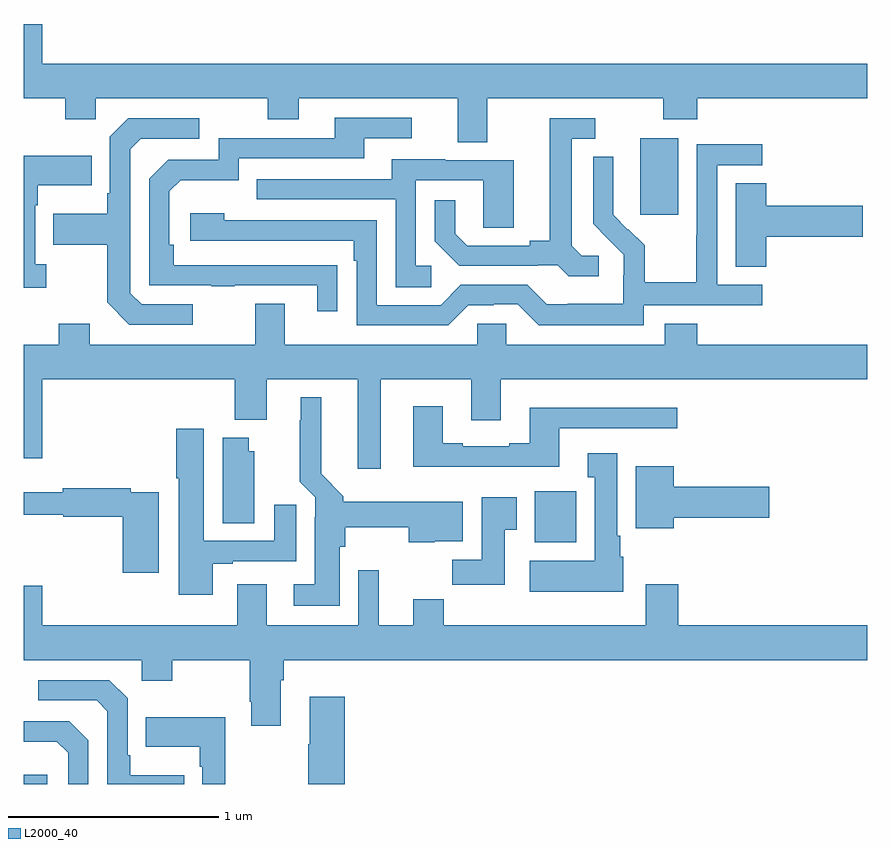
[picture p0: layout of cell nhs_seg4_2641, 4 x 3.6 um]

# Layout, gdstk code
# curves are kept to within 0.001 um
import gdstk
lib = gdstk.Library(unit=1e-6, precision=1e-09)
def R(c, l, rs):  # rectangles x0, y0, x1, y1
    for r in rs: c.add(gdstk.rectangle(r[:2], r[2:], *l))
def P(c, l, *ps):  # polygons
    for p in ps: c.add(gdstk.Polygon(p, *l))
L2000_40 = (2000, 40)

nhs_seg4_2641 = lib.new_cell('nhs_seg4_2641')
R(nhs_seg4_2641, L2000_40, [(249,794.9,249.112,794.944), (251.423,796.046,251.62,796.288), (251.924,797.601,252.103,797.962)])
P(nhs_seg4_2641, L2000_40, [(251.197,798.152),(252.034,798.152),(252.034,798.053),(252.194,798.053),(252.194,798.152),(253,798.152),(253,798.316),(249.088,798.316),(249.088,798.505),(249,798.505),(249,798.152),(249.196,798.152),(249.196,798.053),(249.342,798.053),(249.342,798.152),(250.156,798.152),(250.156,798.053),(250.303,798.053),(250.303,798.152),(251.057,798.152),(251.057,797.944),(251.197,797.944)],
  [(250.487,797.36),(249.71,797.361),(249.71,797.458),(249.69,797.458),(249.69,797.712),(249.743,797.765),(250.02,797.765),(250.02,797.868),(250.615,797.868),(250.615,797.964),(250.84,797.964),(250.84,798.06),(250.475,798.06),(250.475,797.964),(249.924,797.964),(249.924,797.862),(249.684,797.862),(249.594,797.772),(249.594,797.265),(249.889,797.265),(249.889,797.26),(250.001,797.26),(250.001,797.265),(250.391,797.265),(250.391,797.142),(250.487,797.142)],
  [(249.802,797.175),(249.558,797.175),(249.504,797.229),(249.504,797.91),(249.555,797.961),(249.832,797.961),(249.832,798.057),(249.495,798.057),(249.408,797.97),(249.408,797.701),(249.396,797.701),(249.396,797.605),(249.139,797.605),(249.139,797.458),(249.396,797.458),(249.396,797.185),(249.501,797.079),(249.802,797.079)],
  [(251.728,797.406),(251.646,797.406),(251.599,797.453),(251.599,797.961),(251.71,797.961),(251.71,798.057),(251.495,798.057),(251.495,797.477),(251.399,797.477),(251.399,797.454),(251.104,797.454),(251.047,797.511),(251.047,797.668),(250.95,797.668),(250.95,797.474),(251.066,797.358),(251.438,797.358),(251.438,797.361),(251.532,797.361),(251.584,797.309),(251.728,797.309)],
  [(251.94,797.172),(252.502,797.172),(252.502,797.268),(252.288,797.268),(252.288,797.835),(252.502,797.835),(252.502,797.934),(252.192,797.934),(252.192,797.504),(252.19,797.504),(252.19,797.281),(251.945,797.281),(251.945,797.455),(251.868,797.532),(251.865,797.529),(251.795,797.6),(251.796,797.876),(251.7,797.876),(251.7,797.558),(251.846,797.41),(251.846,797.313),(251.844,797.313),(251.844,797.179),(251.581,797.179),(251.581,797.175),(251.481,797.175),(251.388,797.268),(251.073,797.268),(250.977,797.172),(250.674,797.172),(250.674,797.574),(249.95,797.574),(249.95,797.608),(249.789,797.608),(249.789,797.478),(250.565,797.478),(250.565,797.381),(250.578,797.381),(250.578,797.076),(251.013,797.076),(251.109,797.172),(251.228,797.172),(251.228,797.175),(251.343,797.175),(251.443,797.075),(251.94,797.075)],
  [(249.106,797.366),(249.054,797.366),(249.054,797.645),(249.067,797.645),(249.067,797.741),(249.323,797.741),(249.323,797.881),(249,797.881),(249,797.253),(249.106,797.253)],
  [(250.933,797.358),(250.86,797.358),(250.86,797.763),(251.178,797.763),(251.178,797.539),(251.323,797.539),(251.323,797.859),(250.999,797.859),(250.999,797.863),(250.745,797.863),(250.745,797.769),(250.105,797.769),(250.105,797.673),(250.764,797.673),(250.764,797.257),(250.933,797.257)],
  [(252.521,797.495),(252.979,797.495),(252.979,797.642),(252.521,797.642),(252.521,797.75),(252.377,797.75),(252.377,797.353),(252.521,797.353)],
  [(250.693,796.82),(251.123,796.82),(251.123,796.626),(251.263,796.626),(251.263,796.82),(253,796.82),(253,796.984),(252.194,796.984),(252.194,797.083),(252.041,797.083),(252.041,796.984),(251.289,796.984),(251.289,797.082),(251.151,797.082),(251.151,796.984),(250.237,796.984),(250.237,797.179),(250.097,797.179),(250.097,796.984),(249.313,796.984),(249.313,797.083),(249.166,797.083),(249.166,796.984),(249,796.984),(249,796.446),(249.088,796.446),(249.088,796.82),(250.001,796.82),(250.001,796.628),(250.153,796.628),(250.153,796.82),(250.583,796.82),(250.583,796.395),(250.693,796.395)],
  [(250.498,796.026),(250.524,796.026),(250.524,796.118),(250.825,796.118),(250.825,796.046),(250.95,796.046),(250.95,796.052),(251.083,796.052),(251.083,796.24),(250.516,796.24),(250.516,796.266),(250.411,796.372),(250.411,796.735),(250.313,796.735),(250.313,796.625),(250.309,796.625),(250.309,796.334),(250.383,796.26),(250.383,796.166),(250.379,796.166),(250.379,795.847),(250.281,795.847),(250.281,795.746),(250.498,795.746)],
  [(251.539,796.587),(252.1,796.587),(252.1,796.684),(251.399,796.684),(251.399,796.516),(251.303,796.516),(251.303,796.503),(251.083,796.503),(251.083,796.516),(250.987,796.516),(250.987,796.693),(250.847,796.693),(250.847,796.406),(251.539,796.406)],
  [(249.895,795.945),(249.991,795.945),(249.991,795.957),(250.291,795.957),(250.291,796.225),(250.187,796.225),(250.187,796.053),(249.853,796.053),(249.853,796.585),(249.722,796.585),(249.722,796.351),(249.734,796.351),(249.734,795.798),(249.895,795.798)],
  [(250.093,796.479),(250.066,796.479),(250.066,796.543),(249.944,796.543),(249.944,796.138),(250.093,796.138)],
  [(251.842,795.978),(251.83,795.978),(251.83,796.078),(251.815,796.078),(251.815,796.468),(251.675,796.468),(251.675,796.355),(251.708,796.355),(251.708,795.958),(251.399,795.958),(251.399,795.812),(251.842,795.812)],
  [(252.082,796.163),(252.535,796.163),(252.535,796.31),(252.082,796.31),(252.082,796.408),(251.903,796.408),(251.903,796.112),(252.082,796.112)],
  [(249.64,796.284),(249.506,796.284),(249.506,796.304),(249.184,796.304),(249.184,796.285),(249,796.285),(249,796.176),(249.186,796.176),(249.186,796.168),(249.47,796.168),(249.47,795.903),(249.64,795.903)],
  [(251.281,796.105),(251.338,796.105),(251.338,796.261),(251.171,796.261),(251.171,795.964),(251.032,795.964),(251.032,795.846),(251.281,795.846)],
  [(250.219,795.392),(250.232,795.392),(250.232,795.488),(253,795.488),(253,795.652),(252.104,795.652),(252.104,795.847),(251.951,795.847),(251.951,795.652),(250.991,795.652),(250.991,795.776),(250.847,795.776),(250.847,795.652),(250.684,795.652),(250.684,795.913),(250.587,795.913),(250.587,795.652),(250.153,795.652),(250.153,795.847),(250.013,795.847),(250.013,795.652),(249.088,795.652),(249.088,795.841),(249,795.841),(249,795.488),(249.558,795.488),(249.558,795.389),(249.705,795.389),(249.705,795.488),(250.072,795.488),(250.072,795.289),(250.079,795.289),(250.079,795.177),(250.219,795.177)],
  [(249.761,794.941),(249.505,794.941),(249.505,795.037),(249.492,795.037),(249.492,795.306),(249.405,795.393),(249.069,795.393),(249.069,795.297),(249.345,795.297),(249.396,795.246),(249.396,794.9),(249.761,794.9)],
  [(250.523,795.313),(250.355,795.313),(250.355,795.089),(250.348,795.089),(250.348,794.9),(250.523,794.9)],
  [(249.955,795.217),(249.577,795.217),(249.577,795.077),(249.834,795.077),(249.834,794.981),(249.846,794.981),(249.846,794.9),(249.955,794.9)],
  [(249.306,795.108),(249.216,795.198),(249,795.198),(249,795.101),(249.157,795.101),(249.21,795.048),(249.21,794.9),(249.306,794.9)])

lib.write_gds('nhs_seg4_2641.gds')
